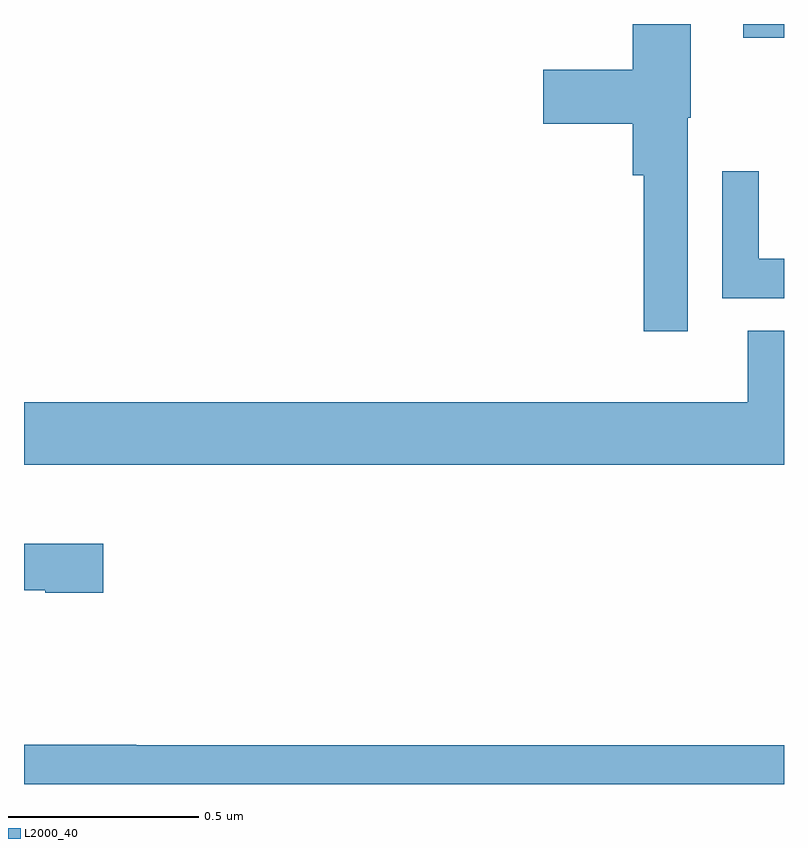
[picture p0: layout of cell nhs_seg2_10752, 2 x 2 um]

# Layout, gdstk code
import gdstk
lib = gdstk.Library(unit=1e-6, precision=1e-09)
def R(c, l, rs):  # rectangles x0, y0, x1, y1
    for r in rs: c.add(gdstk.rectangle(r[:2], r[2:], *l))
def P(c, l, *ps):  # polygons
    for p in ps: c.add(gdstk.Polygon(p, *l))
L2000_40 = (2000, 40)

nhs_seg2_10752 = lib.new_cell('nhs_seg2_10752')
R(nhs_seg2_10752, L2000_40, [(246.893,644.764,247,644.8)])
P(nhs_seg2_10752, L2000_40, [(246.747,644.553),(246.754,644.553),(246.754,644.8),(246.602,644.8),(246.602,644.679),(246.366,644.679),(246.366,644.537),(246.602,644.537),(246.602,644.402),(246.631,644.402),(246.631,643.992),(246.747,643.992)],
  [(247,644.182),(246.933,644.182),(246.933,644.413),(246.837,644.413),(246.837,644.078),(247,644.078)],
  [(247,643.993),(246.905,643.993),(246.905,643.804),(245,643.804),(245,643.64),(247,643.64)],
  [(245.209,643.432),(245,643.432),(245,643.31),(245.056,643.31),(245.056,643.303),(245.209,643.303)],
  [(247,642.902),(245.296,642.902),(245.296,642.903),(245,642.903),(245,642.8),(247,642.8)])

lib.write_gds('nhs_seg2_10752.gds')
